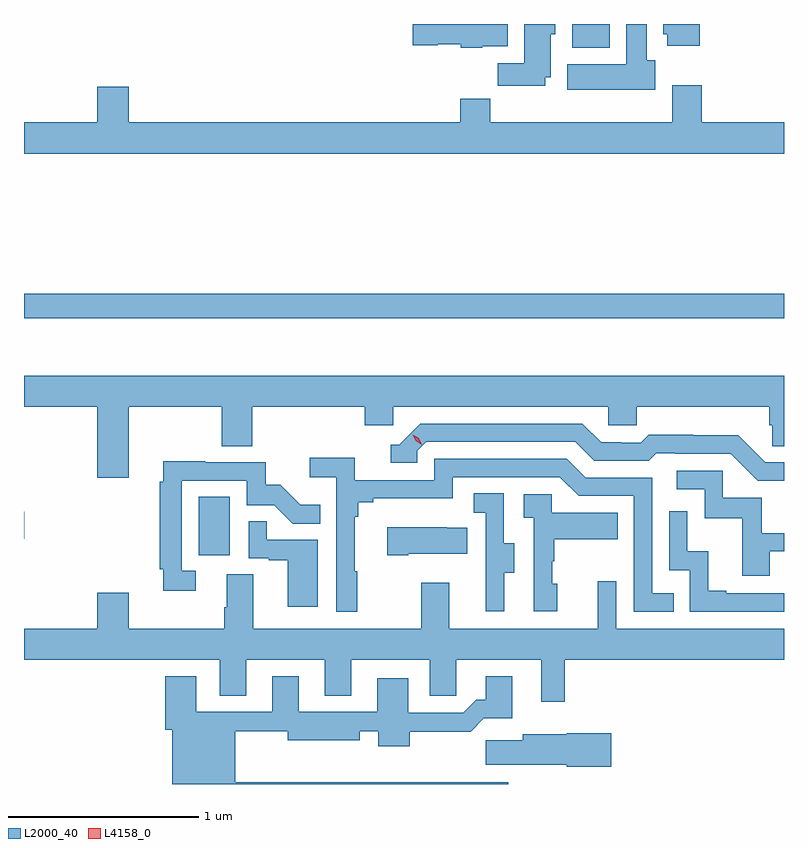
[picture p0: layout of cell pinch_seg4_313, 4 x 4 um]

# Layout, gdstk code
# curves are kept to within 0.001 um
import gdstk
lib = gdstk.Library(unit=1e-6, precision=1e-09)
def R(c, l, rs):  # rectangles x0, y0, x1, y1
    for r in rs: c.add(gdstk.rectangle(r[:2], r[2:], *l))
def P(c, l, *ps):  # polygons
    for p in ps: c.add(gdstk.Polygon(p, *l))
L2000_40 = (2000, 40)
L4158_0 = (4158, 0)

pinch_seg4_313 = lib.new_cell('pinch_seg4_313')
R(pinch_seg4_313, L2000_40, [(896.81,796.038,896.974,796.345), (895.89,796.126,895.891,796.268), (895.89,797.286,899.89,797.414), (898.775,798.71,898.972,798.834)])
P(pinch_seg4_313, L2000_40, [(899.447,798.832),(899.434,798.832),(899.434,798.834),(899.255,798.834),(899.255,798.78),(899.276,798.78),(899.276,798.72),(899.447,798.72)],
  [(898.633,798.554),(898.663,798.554),(898.663,798.78),(898.687,798.78),(898.687,798.834),(898.523,798.834),(898.523,798.628),(898.384,798.628),(898.384,798.51),(898.633,798.51)],
  [(899.212,798.642),(899.167,798.642),(899.167,798.834),(899.06,798.834),(899.06,798.622),(898.748,798.622),(898.748,798.488),(899.212,798.488)],
  [(898.302,798.716),(898.435,798.716),(898.435,798.834),(897.936,798.834),(897.936,798.721),(898.068,798.721),(898.068,798.728),(898.188,798.728),(898.188,798.71),(898.302,798.71)],
  [(899.89,798.316),(899.456,798.316),(899.456,798.511),(899.303,798.511),(899.303,798.316),(898.343,798.316),(898.343,798.44),(898.187,798.44),(898.187,798.316),(896.44,798.316),(896.44,798.505),(896.276,798.505),(896.276,798.316),(895.89,798.316),(895.89,798.152),(899.89,798.152)],
  [(896.44,796.82),(896.932,796.82),(896.932,796.612),(897.092,796.612),(897.092,796.82),(897.683,796.82),(897.683,796.722),(897.834,796.722),(897.834,796.82),(898.965,796.82),(898.965,796.722),(899.115,796.722),(899.115,796.82),(899.813,796.82),(899.813,796.722),(899.827,796.722),(899.827,796.612),(899.89,796.612),(899.89,796.984),(895.89,796.984),(895.89,796.82),(896.276,796.82),(896.276,796.446),(896.44,796.446)],
  [(899.89,796.527),(899.79,796.527),(899.648,796.669),(899.412,796.669),(899.412,796.672),(899.179,796.672),(899.137,796.629),(899.034,796.629),(899.034,796.632),(898.927,796.632),(898.828,796.731),(897.975,796.731),(897.864,796.62),(897.821,796.62),(897.821,796.524),(897.96,796.524),(897.96,796.587),(898.008,796.635),(898.791,796.635),(898.89,796.536),(899.179,796.536),(899.218,796.575),(899.317,796.575),(899.317,796.572),(899.61,796.572),(899.751,796.431),(899.89,796.431)],
  [(897.643,795.953),(897.631,795.953),(897.631,796.241),(897.65,796.241),(897.65,796.318),(897.727,796.318),(897.727,796.337),(898.146,796.337),(898.146,796.449),(898.71,796.449),(898.809,796.35),(899.1,796.35),(899.1,795.741),(899.309,795.741),(899.309,795.837),(899.196,795.837),(899.196,796.446),(898.846,796.446),(898.747,796.545),(898.05,796.545),(898.05,796.434),(897.632,796.434),(897.632,796.55),(897.393,796.55),(897.393,796.448),(897.534,796.448),(897.534,795.741),(897.643,795.741)],
  [(896.794,795.957),(896.721,795.957),(896.721,796.431),(897.063,796.431),(897.063,796.302),(897.207,796.302),(897.305,796.204),(897.449,796.204),(897.449,796.303),(897.345,796.303),(897.238,796.41),(897.162,796.41),(897.162,796.527),(896.843,796.527),(896.843,796.532),(896.624,796.532),(896.624,796.424),(896.605,796.424),(896.605,795.964),(896.624,795.964),(896.624,795.852),(896.794,795.852)],
  [(899.815,796.059),(899.89,796.059),(899.89,796.155),(899.773,796.155),(899.773,796.341),(899.568,796.341),(899.568,796.482),(899.325,796.482),(899.325,796.386),(899.472,796.386),(899.472,796.233),(899.671,796.233),(899.671,795.93),(899.815,795.93)],
  [(898.417,795.946),(898.471,795.946),(898.471,796.101),(898.416,796.101),(898.416,796.364),(898.257,796.364),(898.257,796.261),(898.32,796.261),(898.32,795.957),(898.319,795.957),(898.319,795.744),(898.417,795.744)],
  [(898.696,795.888),(898.671,795.888),(898.671,796.007),(898.681,796.007),(898.681,796.121),(899.015,796.121),(899.015,796.261),(898.668,796.261),(898.668,796.359),(898.521,796.359),(898.521,796.235),(898.572,796.235),(898.572,795.744),(898.696,795.744)],
  [(899.89,795.837),(899.587,795.837),(899.587,795.85),(899.492,795.85),(899.492,796.058),(899.382,796.058),(899.382,796.27),(899.286,796.27),(899.286,795.96),(899.394,795.96),(899.394,795.741),(899.89,795.741)],
  [(897.436,796.119),(897.167,796.119),(897.167,796.217),(897.072,796.217),(897.072,796.023),(897.179,796.023),(897.179,796.011),(897.278,796.011),(897.278,795.768),(897.436,795.768)],
  [(897.913,796.046),(898.223,796.046),(898.223,796.183),(898.115,796.183),(898.115,796.186),(897.801,796.186),(897.801,796.039),(897.913,796.039)],
  [(896.921,795.298),(897.061,795.298),(897.061,795.488),(897.473,795.488),(897.473,795.299),(897.613,795.299),(897.613,795.488),(898.025,795.488),(898.025,795.298),(898.164,795.298),(898.164,795.488),(898.613,795.488),(898.613,795.267),(898.735,795.267),(898.735,795.488),(899.89,795.488),(899.89,795.652),(899.007,795.652),(899.007,795.901),(898.91,795.901),(898.91,795.652),(898.129,795.652),(898.129,795.892),(897.982,795.892),(897.982,795.652),(897.097,795.652),(897.097,795.938),(896.957,795.938),(896.957,795.764),(896.945,795.764),(896.945,795.652),(896.44,795.652),(896.44,795.841),(896.276,795.841),(896.276,795.652),(895.89,795.652),(895.89,795.488),(896.921,795.488)],
  [(898.438,794.842),(897.001,794.842),(897.001,795.112),(897.278,795.112),(897.278,795.065),(897.658,795.065),(897.658,795.112),(897.755,795.112),(897.755,795.032),(897.921,795.032),(897.921,795.11),(898.241,795.11),(898.31,795.179),(898.459,795.179),(898.459,795.4),(898.319,795.4),(898.319,795.277),(898.27,795.277),(898.203,795.21),(897.913,795.21),(897.913,795.391),(897.749,795.391),(897.749,795.213),(897.337,795.214),(897.337,795.4),(897.197,795.4),(897.197,795.213),(896.797,795.213),(896.797,795.4),(896.633,795.4),(896.633,795.12),(896.669,795.12),(896.669,794.834),(898.438,794.834)],
  [(898.981,795.102),(898.746,795.102),(898.746,795.097),(898.514,795.097),(898.514,795.065),(898.32,795.065),(898.32,794.936),(898.746,794.936),(898.746,794.924),(898.981,794.924)])
P(pinch_seg4_313, L4158_0, [(897.983,796.62),(897.952,796.64),(897.936,796.673),(897.936,796.673),(897.937,796.673),(897.968,796.653),(897.984,796.62),(897.984,796.62)])

lib.write_gds('pinch_seg4_313.gds')
